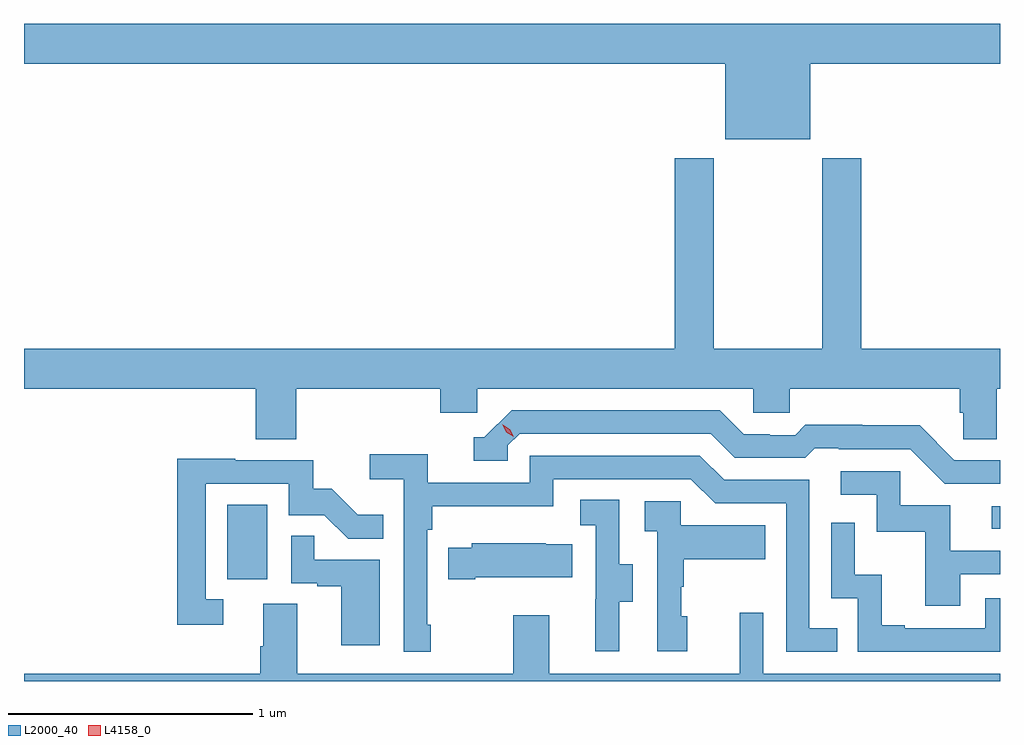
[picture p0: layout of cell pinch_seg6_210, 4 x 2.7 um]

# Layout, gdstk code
import gdstk
lib = gdstk.Library(unit=1e-6, precision=1e-09)
def R(c, l, rs):  # rectangles x0, y0, x1, y1
    for r in rs: c.add(gdstk.rectangle(r[:2], r[2:], *l))
def P(c, l, *ps):  # polygons
    for p in ps: c.add(gdstk.Polygon(p, *l))
L2000_40 = (2000, 40)
L4158_0 = (4158, 0)

pinch_seg6_210 = lib.new_cell('pinch_seg6_210')
R(pinch_seg6_210, L2000_40, [(1046.216,915.918,1046.38,916.225), (1049.349,916.125,1049.383,916.218)])
P(pinch_seg6_210, L2000_40, [(1048.606,918.032),(1049.383,918.032),(1049.383,918.196),(1045.383,918.196),(1045.383,918.032),(1048.256,918.032),(1048.256,917.723),(1048.606,917.723)],
  [(1046.498,916.7),(1047.089,916.7),(1047.089,916.602),(1047.24,916.602),(1047.24,916.7),(1048.371,916.7),(1048.371,916.602),(1048.521,916.602),(1048.521,916.7),(1049.219,916.7),(1049.219,916.602),(1049.233,916.602),(1049.233,916.492),(1049.37,916.492),(1049.37,916.7),(1049.383,916.7),(1049.383,916.864),(1048.814,916.864),(1048.814,917.644),(1048.654,917.644),(1048.654,916.864),(1048.209,916.864),(1048.209,917.644),(1048.049,917.644),(1048.049,916.864),(1045.383,916.864),(1045.383,916.7),(1046.333,916.7),(1046.333,916.492),(1046.498,916.492)],
  [(1049.383,916.407),(1049.196,916.407),(1049.054,916.549),(1048.818,916.549),(1048.818,916.552),(1048.585,916.552),(1048.543,916.509),(1048.44,916.509),(1048.44,916.512),(1048.333,916.512),(1048.234,916.611),(1047.381,916.611),(1047.27,916.5),(1047.227,916.5),(1047.227,916.404),(1047.366,916.404),(1047.366,916.467),(1047.414,916.515),(1048.197,916.515),(1048.296,916.416),(1048.585,916.416),(1048.624,916.455),(1048.723,916.455),(1048.723,916.452),(1049.016,916.452),(1049.157,916.311),(1049.383,916.311)],
  [(1047.049,915.733),(1047.036,915.733),(1047.036,916.121),(1047.056,916.121),(1047.056,916.217),(1047.552,916.217),(1047.552,916.329),(1048.116,916.329),(1048.215,916.23),(1048.506,916.23),(1048.506,915.621),(1048.715,915.621),(1048.715,915.717),(1048.602,915.717),(1048.602,916.326),(1048.252,916.326),(1048.153,916.425),(1047.456,916.425),(1047.456,916.314),(1047.038,916.314),(1047.038,916.43),(1046.799,916.43),(1046.799,916.328),(1046.94,916.328),(1046.94,915.621),(1047.049,915.621)],
  [(1046.2,915.837),(1046.127,915.837),(1046.127,916.311),(1046.469,916.311),(1046.469,916.182),(1046.613,916.182),(1046.711,916.084),(1046.855,916.084),(1046.855,916.183),(1046.751,916.183),(1046.644,916.29),(1046.568,916.29),(1046.568,916.407),(1046.249,916.407),(1046.249,916.412),(1046.011,916.412),(1046.011,915.732),(1046.2,915.732)],
  [(1049.221,915.939),(1049.383,915.939),(1049.383,916.035),(1049.179,916.035),(1049.179,916.221),(1048.974,916.221),(1048.974,916.362),(1048.731,916.362),(1048.731,916.266),(1048.878,916.266),(1048.878,916.113),(1049.077,916.113),(1049.077,915.81),(1049.221,915.81)],
  [(1047.823,915.826),(1047.877,915.826),(1047.877,915.981),(1047.822,915.981),(1047.822,916.244),(1047.663,916.244),(1047.663,916.141),(1047.726,916.141),(1047.726,915.837),(1047.725,915.837),(1047.725,915.624),(1047.823,915.624)],
  [(1048.102,915.768),(1048.077,915.768),(1048.077,915.887),(1048.087,915.887),(1048.087,916.001),(1048.421,916.001),(1048.421,916.141),(1048.074,916.141),(1048.074,916.239),(1047.927,916.239),(1047.927,916.115),(1047.978,916.115),(1047.978,915.624),(1048.102,915.624)],
  [(1049.383,915.84),(1049.322,915.84),(1049.322,915.717),(1048.993,915.717),(1048.993,915.73),(1048.898,915.73),(1048.898,915.938),(1048.788,915.938),(1048.788,916.15),(1048.692,916.15),(1048.692,915.84),(1048.8,915.84),(1048.8,915.621),(1049.383,915.621)],
  [(1046.842,915.999),(1046.573,915.999),(1046.573,916.097),(1046.478,916.097),(1046.478,915.903),(1046.585,915.903),(1046.585,915.891),(1046.684,915.891),(1046.684,915.648),(1046.842,915.648)],
  [(1047.232,915.926),(1047.629,915.926),(1047.629,916.063),(1047.521,916.063),(1047.521,916.066),(1047.219,916.066),(1047.219,916.048),(1047.121,916.048),(1047.121,915.919),(1047.232,915.919)],
  [(1049.383,915.532),(1048.413,915.532),(1048.413,915.781),(1048.316,915.781),(1048.316,915.532),(1047.535,915.532),(1047.535,915.772),(1047.388,915.772),(1047.388,915.532),(1046.503,915.532),(1046.503,915.818),(1046.363,915.818),(1046.363,915.644),(1046.351,915.644),(1046.351,915.532),(1045.383,915.532),(1045.383,915.5),(1049.383,915.5)])
P(pinch_seg6_210, L4158_0, [(1047.39,916.502),(1047.359,916.521),(1047.343,916.553),(1047.343,916.553),(1047.343,916.553),(1047.374,916.534),(1047.391,916.502),(1047.391,916.502)])

lib.write_gds('pinch_seg6_210.gds')
